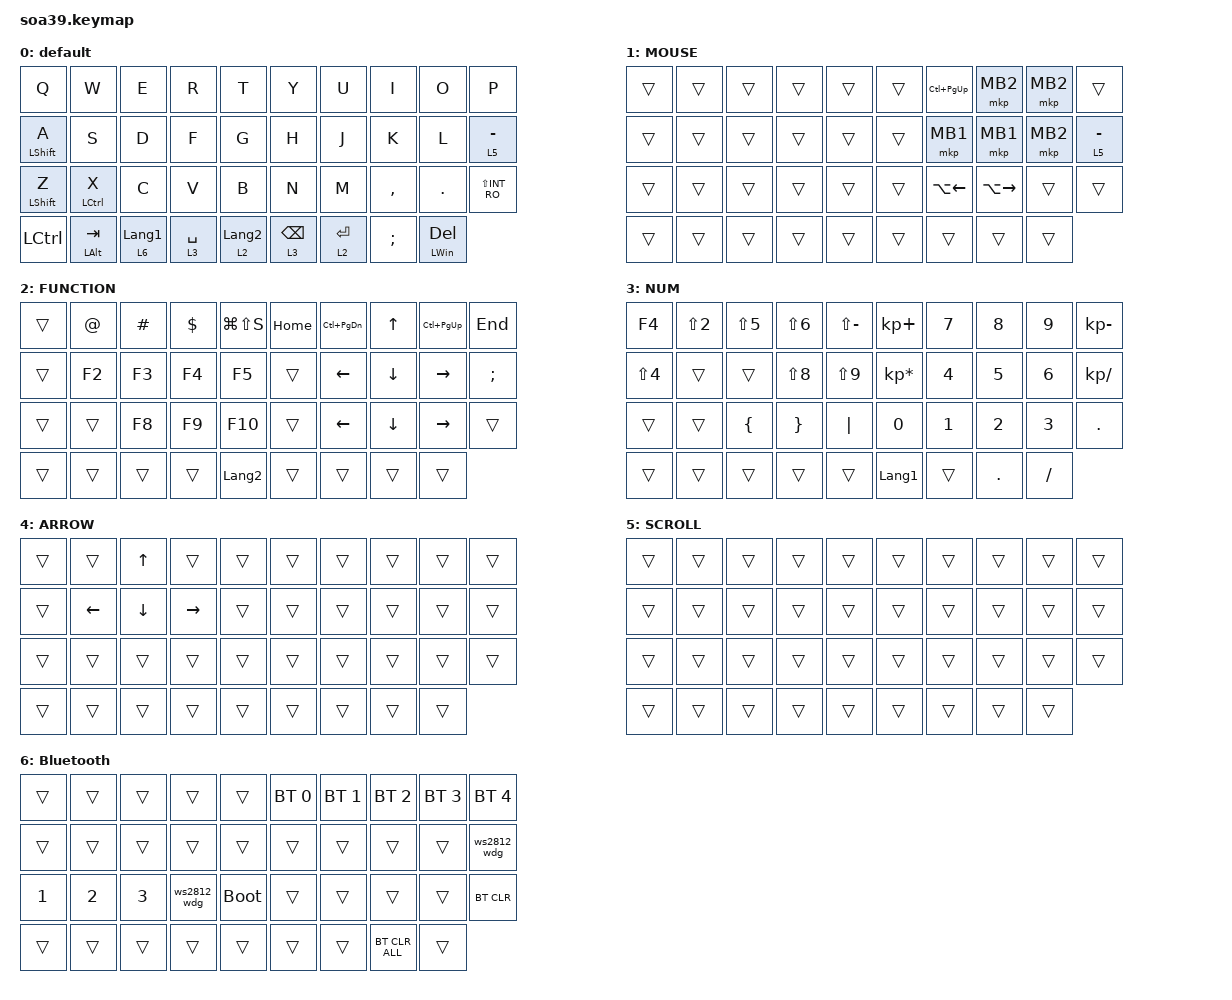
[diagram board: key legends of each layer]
#include <behaviors.dtsi>
#include <dt-bindings/zmk/bt.h>
#include <dt-bindings/zmk/keys.h>
#include <dt-bindings/zmk/pointing.h>

&mt {
    flavor = "balanced";
    quick-tap-ms = <0>;
};

&trackball {
    automouse-layer = <1>;
    scroll-layers = <5>;

    // arrows {
    //     layers = <3>;
    //     bindings =
    //         <&kp RIGHT_ARROW>,
    //         <&kp LEFT_ARROW>,
    //         <&kp UP_ARROW>,
    //         <&kp DOWN_ARROW>;
    //     tick = <10>;
    //     wait-ms = <5>;
    //     tap-ms = <5>;
    // };
};

/ {
    behaviors {
        // Temporary WS2812 widget behavior definition until external module is recognized

        ws2812_wdg: ws2812_widget {
            compatible = "zmk,behavior-macro";
            #binding-cells = <0>;
            bindings = <&none>; // Placeholder - will be replaced by actual WS2812 implementation
        };
    };

    combos {
        compatible = "zmk,combos";

        tab {
            bindings = <&kp TAB>;
            key-positions = <9 10>;
        };

        shift_tab {
            bindings = <&kp TAB>;
            key-positions = <10 11>;
        };

        del {
            bindings = <&kp DELETE>;
            key-positions = <9 8>;
        };

        double_quotation {
            bindings = <&kp DOUBLE_QUOTES>;
            key-positions = <18 19>;
        };

        eq {
            bindings = <&kp EQUAL>;
            key-positions = <22 23>;
        };

        esc {
            bindings = <&kp ESCAPE>;
            key-positions = <0 1>;
        };
    };

    macros {
        to_layer_0: to_layer_0 {
            compatible = "zmk,behavior-macro-one-param";
            #binding-cells = <1>;
            bindings = <&to 0 &macro_param_1to1 &kp MACRO_PLACEHOLDER>;
            label = "TO_LAYER_0";
        };
    };

    behaviors {
        lt_to_layer_0: lt_to_layer_0 {
            compatible = "zmk,behavior-hold-tap";
            label = "LAYER_TAP_TO_0";
            bindings = <&mo>, <&to_layer_0>;

            #binding-cells = <2>;
            tapping-term-ms = <200>;
        };
    };

    keymap {
        compatible = "zmk,keymap";

        default {
            bindings = <
&kp Q             &kp W               &kp E             &kp R        &kp T             &kp Y            &kp U        &kp I          &kp O                &kp P
&mt LEFT_SHIFT A  &kp S               &kp D             &kp F        &kp G             &kp H            &kp J        &kp K          &kp L                &lt 5 MINUS
&mt LEFT_SHIFT Z  &mt LEFT_CONTROL X  &kp C             &kp V        &kp B             &kp N            &kp M        &kp COMMA      &kp PERIOD           &kp LS(INT_RO)
&kp LEFT_CONTROL  &mt LEFT_ALT TAB    &lt 6 LANGUAGE_1  &lt 3 SPACE  &lt 2 LANGUAGE_2  &lt 3 BACKSPACE  &lt 2 ENTER  &kp SEMICOLON  &mt LEFT_WIN DELETE
            >;
        };

        MOUSE {
            bindings = <
&trans  &trans  &trans  &trans  &trans  &trans  &kp LC(PAGE_UP)     &mkp MB2             &mkp MB2  &trans
&trans  &trans  &trans  &trans  &trans  &trans  &mkp MB1            &mkp MB1             &mkp MB2  &lt 5 MINUS
&trans  &trans  &trans  &trans  &trans  &trans  &kp LA(LEFT_ARROW)  &kp LA(RIGHT_ARROW)  &trans    &trans
&trans  &trans  &trans  &trans  &trans  &trans  &trans              &trans               &trans
            >;
        };

        FUNCTION {
            bindings = <
&trans  &kp AT_SIGN  &kp HASH  &kp DOLLAR  &kp LG(LS(S))   &kp HOME  &kp LC(PAGE_DOWN)  &kp UP_ARROW    &kp LC(PAGE_UP)  &kp END
&trans  &kp F2       &kp F3    &kp F4      &kp F5          &trans    &kp LEFT_ARROW     &kp DOWN_ARROW  &kp RIGHT_ARROW  &kp SEMICOLON
&trans  &trans       &kp F8    &kp F9      &kp F10         &trans    &kp LEFT           &kp DOWN        &kp RIGHT        &trans
&trans  &trans       &trans    &trans      &kp LANGUAGE_2  &trans    &trans             &trans          &trans
            >;
        };

        NUM {
            bindings = <
&kp F4            &kp LS(N2)  &kp LS(NUMBER_5)  &kp LS(NUMBER_6)  &kp LS(MINUS)     &kp KP_PLUS      &kp NUMBER_7  &kp NUMBER_8  &kp NUMBER_9  &kp KP_MINUS
&kp LS(NUMBER_4)  &trans      &trans            &kp LS(NUMBER_8)  &kp LS(NUMBER_9)  &kp KP_MULTIPLY  &kp N4        &kp N5        &kp N6        &kp KP_SLASH
&trans            &trans      &kp LEFT_BRACE    &kp RIGHT_BRACE   &kp PIPE          &kp NUMBER_0     &kp N1        &kp N2        &kp N3        &kp DOT
&trans            &trans      &trans            &trans            &trans            &kp LANGUAGE_1   &trans        &kp PERIOD    &kp SLASH
            >;
        };

        ARROW {
            bindings = <
&trans  &trans    &kp UP    &trans     &trans  &trans  &trans  &trans  &trans  &trans
&trans  &kp LEFT  &kp DOWN  &kp RIGHT  &trans  &trans  &trans  &trans  &trans  &trans
&trans  &trans    &trans    &trans     &trans  &trans  &trans  &trans  &trans  &trans
&trans  &trans    &trans    &trans     &trans  &trans  &trans  &trans  &trans
            >;
        };

        SCROLL {
            bindings = <
&trans  &trans  &trans  &trans  &trans  &trans  &trans  &trans  &trans  &trans
&trans  &trans  &trans  &trans  &trans  &trans  &trans  &trans  &trans  &trans
&trans  &trans  &trans  &trans  &trans  &trans  &trans  &trans  &trans  &trans
&trans  &trans  &trans  &trans  &trans  &trans  &trans  &trans  &trans
            >;
        };

        Bluetooth {
            bindings = <
&trans        &trans        &trans        &trans       &trans       &bt BT_SEL 0  &bt BT_SEL 1  &bt BT_SEL 2    &bt BT_SEL 3  &bt BT_SEL 4
&trans        &trans        &trans        &trans       &trans       &trans        &trans        &trans          &trans        &ws2812_wdg
&kp NUMBER_1  &kp NUMBER_2  &kp NUMBER_3  &ws2812_wdg  &bootloader  &trans        &trans        &trans          &trans        &bt BT_CLR
&trans        &trans        &trans        &trans       &trans       &trans        &trans        &bt BT_CLR_ALL  &trans
            >;
        };
    };
};
